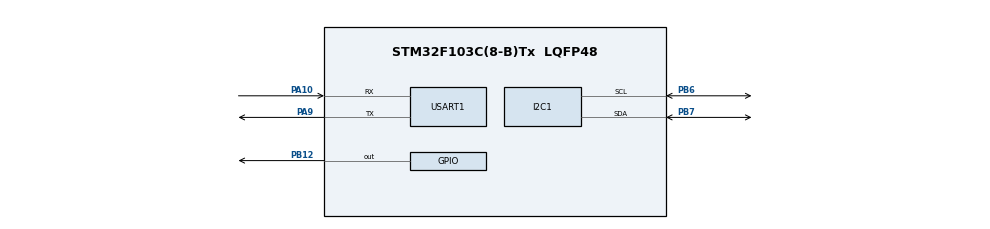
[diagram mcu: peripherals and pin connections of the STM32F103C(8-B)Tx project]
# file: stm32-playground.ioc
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Mcu.Family=STM32F1
Mcu.Name=STM32F103C(8-B)Tx
Mcu.Package=LQFP48
NVIC.PriorityGroup=NVIC_PRIORITYGROUP_4
PA10.Mode=Asynchronous
PA10.Signal=USART1_RX
PA9.Mode=Asynchronous
PA9.Signal=USART1_TX
PB12.Signal=GPIO_Output
PB6.Mode=I2C
PB6.Signal=I2C1_SCL
PB7.Mode=I2C
PB7.Signal=I2C1_SDA
ProjectManager.HeapSize=0x200
ProjectManager.StackSize=0x400
ProjectManager.TargetToolchain=STM32CubeIDE
RCC.APB1Freq_Value=8000000
RCC.APB2Freq_Value=8000000
USART1.VirtualMode=VM_ASYNC
board=custom

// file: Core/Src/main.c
/* USER CODE BEGIN Header */
/**
  ******************************************************************************
  * @file           : main.c
  * @brief          : Main program body
  ******************************************************************************
  * @attention
  *
  * Copyright (c) 2023 STMicroelectronics.
  * All rights reserved.
  *
  * This software is licensed under terms that can be found in the LICENSE file
  * in the root directory of this software component.
  * If no LICENSE file comes with this software, it is provided AS-IS.
  *
  ******************************************************************************
  */
/* USER CODE END Header */
#include "main.h"

/* USER CODE BEGIN PD */

#define EEPROM_ADDR (0x50 << 1) // 0xA0
#define I2C_TIMEOUT 1000
#define UART_TIMEOUT 1000

/* USER CODE END PD */

I2C_HandleTypeDef hi2c1;

UART_HandleTypeDef huart1;

void SystemClock_Config(void);
static void MX_GPIO_Init(void);
static void MX_I2C1_Init(void);
static void MX_USART1_UART_Init(void);

int main(void)
{

  /* MCU Configuration--------------------------------------------------------*/

  /* Reset of all peripherals, Initializes the Flash interface and the Systick. */
  HAL_Init();

  /* Configure the system clock */
  SystemClock_Config();

  /* Initialize all configured peripherals */
  MX_GPIO_Init();
  MX_I2C1_Init();
  MX_USART1_UART_Init();

  /* Infinite loop */
  /* USER CODE BEGIN WHILE */

  uint8_t write_val[8] = "Hello";
  uint8_t read_val[8] = "";

  while (1)
  {
    HAL_Delay(5000);
    HAL_GPIO_WritePin(GPIOB, GPIO_PIN_12, GPIO_PIN_SET);

    if (HAL_I2C_Mem_Write(&hi2c1, EEPROM_ADDR, 0x0, I2C_MEMADD_SIZE_16BIT, write_val, sizeof(write_val), I2C_TIMEOUT) != HAL_OK) {
      Error_Handler();
    }

    uint8_t w_success_msg[] = "Write success";
    HAL_UART_Transmit(&huart1, w_success_msg, sizeof(w_success_msg), UART_TIMEOUT);

    HAL_Delay(5000);
    HAL_GPIO_WritePin(GPIOB, GPIO_PIN_12, GPIO_PIN_RESET);

    if (HAL_I2C_Mem_Read(&hi2c1, EEPROM_ADDR, 0x0, I2C_MEMADD_SIZE_16BIT, read_val, sizeof(read_val), I2C_TIMEOUT) != HAL_OK) {
      Error_Handler();
    }

    uint8_t r_success_msg[] = "Read success";
    HAL_UART_Transmit(&huart1, r_success_msg, sizeof(r_success_msg), UART_TIMEOUT);

    /* USER CODE END WHILE */

  }
}

void SystemClock_Config(void)
{
  RCC_OscInitTypeDef RCC_OscInitStruct = {0};
  RCC_ClkInitTypeDef RCC_ClkInitStruct = {0};

  /** Initializes the RCC Oscillators according to the specified parameters
  * in the RCC_OscInitTypeDef structure.
  */
  RCC_OscInitStruct.OscillatorType = RCC_OSCILLATORTYPE_HSI;
  RCC_OscInitStruct.HSIState = RCC_HSI_ON;
  RCC_OscInitStruct.HSICalibrationValue = RCC_HSICALIBRATION_DEFAULT;
  RCC_OscInitStruct.PLL.PLLState = RCC_PLL_NONE;
  if (HAL_RCC_OscConfig(&RCC_OscInitStruct) != HAL_OK)
  {
    Error_Handler();
  }

  /** Initializes the CPU, AHB and APB buses clocks
  */
  RCC_ClkInitStruct.ClockType = RCC_CLOCKTYPE_HCLK|RCC_CLOCKTYPE_SYSCLK
                              |RCC_CLOCKTYPE_PCLK1|RCC_CLOCKTYPE_PCLK2;
  RCC_ClkInitStruct.SYSCLKSource = RCC_SYSCLKSOURCE_HSI;
  RCC_ClkInitStruct.AHBCLKDivider = RCC_SYSCLK_DIV1;
  RCC_ClkInitStruct.APB1CLKDivider = RCC_HCLK_DIV1;
  RCC_ClkInitStruct.APB2CLKDivider = RCC_HCLK_DIV1;

  if (HAL_RCC_ClockConfig(&RCC_ClkInitStruct, FLASH_LATENCY_0) != HAL_OK)
  {
    Error_Handler();
  }
}

static void MX_I2C1_Init(void)
{

  hi2c1.Instance = I2C1;
  hi2c1.Init.ClockSpeed = 100000;
  hi2c1.Init.DutyCycle = I2C_DUTYCYCLE_2;
  hi2c1.Init.OwnAddress1 = 0;
  hi2c1.Init.AddressingMode = I2C_ADDRESSINGMODE_7BIT;
  hi2c1.Init.DualAddressMode = I2C_DUALADDRESS_DISABLE;
  hi2c1.Init.OwnAddress2 = 0;
  hi2c1.Init.GeneralCallMode = I2C_GENERALCALL_DISABLE;
  hi2c1.Init.NoStretchMode = I2C_NOSTRETCH_DISABLE;
  if (HAL_I2C_Init(&hi2c1) != HAL_OK)
  {
    Error_Handler();
  }

}

static void MX_USART1_UART_Init(void)
{

  huart1.Instance = USART1;
  huart1.Init.BaudRate = 115200;
  huart1.Init.WordLength = UART_WORDLENGTH_8B;
  huart1.Init.StopBits = UART_STOPBITS_1;
  huart1.Init.Parity = UART_PARITY_NONE;
  huart1.Init.Mode = UART_MODE_TX_RX;
  huart1.Init.HwFlowCtl = UART_HWCONTROL_NONE;
  huart1.Init.OverSampling = UART_OVERSAMPLING_16;
  if (HAL_UART_Init(&huart1) != HAL_OK)
  {
    Error_Handler();
  }

}

static void MX_GPIO_Init(void)
{
  GPIO_InitTypeDef GPIO_InitStruct = {0};

  /* GPIO Ports Clock Enable */
  __HAL_RCC_GPIOB_CLK_ENABLE();
  __HAL_RCC_GPIOA_CLK_ENABLE();

  /*Configure GPIO pin Output Level */
  HAL_GPIO_WritePin(GPIOB, GPIO_PIN_12, GPIO_PIN_RESET);

  /*Configure GPIO pin : PB12 */
  GPIO_InitStruct.Pin = GPIO_PIN_12;
  GPIO_InitStruct.Mode = GPIO_MODE_OUTPUT_PP;
  GPIO_InitStruct.Pull = GPIO_NOPULL;
  GPIO_InitStruct.Speed = GPIO_SPEED_FREQ_LOW;
  HAL_GPIO_Init(GPIOB, &GPIO_InitStruct);

}

void Error_Handler(void)
{
  __disable_irq();
  while (1)
  {
  }
}
